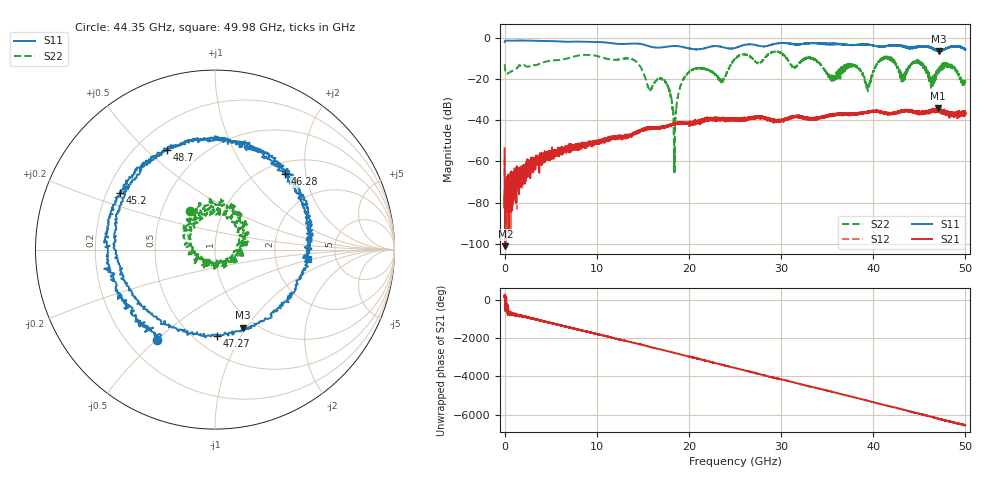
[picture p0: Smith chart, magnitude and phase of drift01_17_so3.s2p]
!Created with skrf (http://scikit-rf.org).
# Hz S RI R 50.0
!freq ReS11 ImS11 ReS21 ImS21 ReS12 ImS12 ReS22 ImS22
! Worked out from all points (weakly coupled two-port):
!   10001 points, 300 kHz to 50 GHz, reference 50 ohm
!   highest |S21| = -34.26 dB at 46.99 GHz (marker M1); lowest = -101.2 dB at 90.3 MHz (marker M2)
!   lowest |S11| = -6.7 dB at 47.15 GHz (marker M3), VSWR 2.72, Z = 43.6 - j48.3 ohm
!   |S11| at or under -10 dB: nowhere
!   |S22| runs from -66.2 to -6.6 dB; largest |S21 - S12| = 0.0041
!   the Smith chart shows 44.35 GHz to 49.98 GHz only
!   S11 on the Smith chart (normalised r, x): 44.35 GHz: 0.32, -0.50; 45.2 GHz: 0.26, +0.26; 46.28 GHz: 1.22, +1.53; 47.27 GHz: 0.64, -0.80; 48.7 GHz: 0.32, +0.58; 49.98 GHz: 3.13, -0.43
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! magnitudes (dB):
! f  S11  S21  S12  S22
! 300 kHz  -2.1  -53.7  -58.7  -12.9
! 90.3 MHz  -1.5  -101.2  -85.2  -16.4
! 8.335 GHz  -1.9  -52.0  -54.2  -8.5
! 16.67 GHz  -4.8  -44.0  -43.8  -19.9
! 17.74 GHz  -4.3  -42.9  -42.7  -23.7
! 18.43 GHz  -4.0  -41.7  -41.8  -66.2
! 19.9 GHz  -5.1  -41.5  -41.5  -17.1
! 23.6 GHz  -4.5  -39.7  -40.1  -20.5
! 25 GHz  -5.0  -39.5  -39.8  -10.3
! 33.34 GHz  -2.6  -39.4  -39.7  -10.0
! 39.37 GHz  -3.4  -36.1  -36.0  -23.7
! 41.67 GHz  -3.9  -36.8  -36.8  -9.8
! 43.19 GHz  -4.3  -35.8  -35.5  -19.0
! 44.35 GHz  -4.5  -35.7  -36.1  -11.8
! 45.2 GHz  -4.2  -36.5  -36.5  -12.3
! 46.28 GHz  -4.8  -35.7  -35.6  -22.7
! 46.99 GHz  -6.5  -34.3  -35.9  -15.8
! 47.15 GHz  -6.7  -35.8  -35.9  -15.2
! 47.27 GHz  -6.3  -36.0  -36.1  -16.1
! 48.7 GHz  -4.2  -36.3  -37.5  -14.0
! 49.98 GHz  -5.6  -36.1  -36.5  -21.5
! 50 GHz  -5.6  -37.0  -36.8  -21.7
